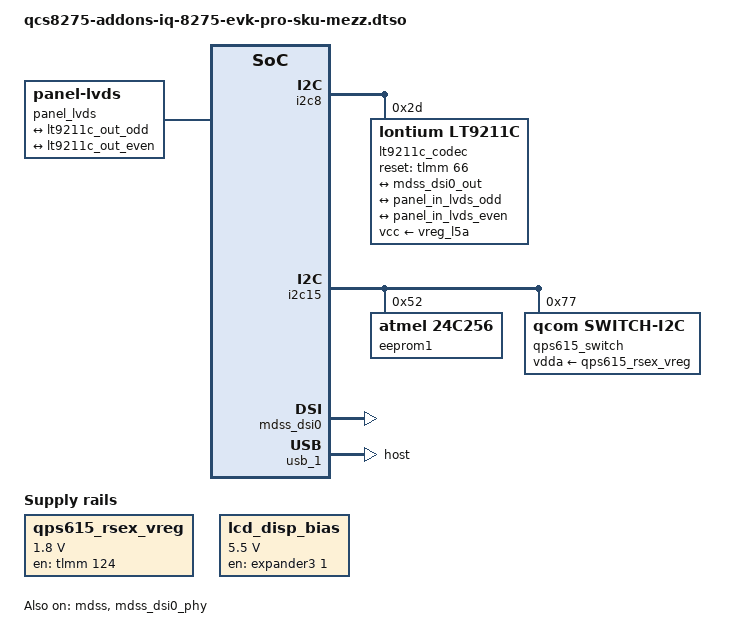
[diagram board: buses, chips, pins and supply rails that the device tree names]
// SPDX-License-Identifier: BSD-3-Clause
/*
 * Copyright (c) Qualcomm Technologies, Inc. and/or its subsidiaries.
 */

/dts-v1/;
/plugin/;

#include <dt-bindings/gpio/gpio.h>
#include <dt-bindings/interrupt-controller/irq.h>

&{/} {
	model = "Qualcomm Technologies, Inc. Addons IQ8-8275-evk pro sku Mezzanine";
	qcom,board-id = <0x00010020 3>, <0x00010019 3>;

	panel_lvds: panel-lvds@0 {
		compatible = "panel-lvds";
		data-mapping = "vesa-24";
		width-mm = <476>;
		height-mm = <268>;

		status = "okay";

		panel-timing {
			clock-frequency = <148500000>;
			hactive = <1920>;
			vactive = <1080>;
			hfront-porch = <88>;
			hback-porch = <148>;
			hsync-len = <44>;
			vfront-porch = <4>;
			vback-porch = <36>;
			vsync-len = <5>;
			de-active = <1>;
		};

		ports {
			#address-cells = <1>;
			#size-cells = <0>;

			port@0 {
				reg = <0>;
				dual-lvds-odd-pixels;
				panel_in_lvds_odd: endpoint {
					remote-endpoint = <&lt9211c_out_odd>;
				};
			};

			port@1 {
				reg = <1>;
				dual-lvds-even-pixels;
				panel_in_lvds_even: endpoint {
					remote-endpoint = <&lt9211c_out_even>;
				};
			};
		};
	};

	qps615_rsex_vreg: qps615-rsex-vreg {
		compatible = "regulator-fixed";
		regulator-name = "qps615_rsex_vreg";
		gpio = <&tlmm 124 GPIO_ACTIVE_HIGH>;
		regulator-min-microvolt = <1800000>;
		regulator-max-microvolt = <1800000>;
		enable-active-high;
		regulator-enable-ramp-delay = <10000>;
	};

	lcd_disp_bias: regulator-lcd-disp-bias {
		compatible = "regulator-fixed";
		regulator-name = "lcd_disp_bias";
		regulator-min-microvolt = <5500000>;
		regulator-max-microvolt = <5500000>;
		gpio = <&expander3 1 GPIO_ACTIVE_HIGH>;
		enable-active-high;
	};
};

&i2c8 {
	qcom,load-firmware;
	qcom,xfer-mode = <1>;
	pinctrl-names = "default";
	pinctrl-0 = <&qup_i2c8_data_clk>;

	status = "okay";

	lt9211c_codec: lvds-bridge@2d {
		compatible = "lontium,lt9211c";
		reg = <0x2d>;
		reset-gpios = <&tlmm 66 GPIO_ACTIVE_HIGH>;
		vcc-supply = <&vreg_l5a>;

		status = "okay";

		ports {
			#address-cells = <1>;
			#size-cells = <0>;

			port@0 {
				reg = <0>;
				lt9211c_in: endpoint {
					data-lanes = <0 1 2 3>;
					remote-endpoint = <&mdss_dsi0_out>;
				};
			};

			port@2 {
				reg = <2>;
				lt9211c_out_odd: endpoint {
					remote-endpoint = <&panel_in_lvds_odd>;
				};
			};

			port@3 {
				reg = <3>;
				lt9211c_out_even: endpoint {
					remote-endpoint = <&panel_in_lvds_even>;
				};
			};
		};
	};
};

&connector_usb1 {
	status = "disabled";
};

&i2c15 {

	status = "okay";

	eeprom1: eeprom@52 {
		compatible = "atmel,24c256";
		reg = <0x52>;
		pagesize = <64>;

		nvmem-layout {
			compatible = "fixed-layout";
			#address-cells = <1>;
			#size-cells = <1>;

			mac_addr1: mac-addr@0 {
				reg = <0x0 0x6>;
			};

			mac_addr2: mac-addr@6 {
				reg = <0x6 0x6>;
			};
		};
	};

	qps615_switch: pcie-switch@77 {
		compatible = "qcom,switch-i2c";
		reg = <0x77>;
		vdda-supply = <&qps615_rsex_vreg>;

		status = "okay";
	};

};

&mdss {
	status = "okay";
};

&mdss_dsi0 {
	vdda-supply = <&vreg_l5a>;
	power-supply = <&lcd_disp_bias>;
	status = "okay";
};

&mdss_dsi0_out {
	data-lanes = <0 1 2 3>;
	remote-endpoint = <&lt9211c_in>;
};

&mdss_dsi0_phy {
	vdds-supply = <&vreg_l4a>;
	status = "okay";
};

&pcie0 {
	dummy-supply = <&qps615_switch>;
	iommu-map = <0x0 &apps_smmu 0x0000 0x1>,
	            <0x100 &pcie_smmu 0x0001 0x1>,
	            <0x208 &pcie_smmu 0x0002 0x1>,
	            <0x210 &pcie_smmu 0x0003 0x1>,
	            <0x218 &pcie_smmu 0x0004 0x1>,
	            <0x300 &pcie_smmu 0x0005 0x1>,
	            <0x400 &pcie_smmu 0x0006 0x1>,
	            <0x500 &pcie_smmu 0x0007 0x1>,
	            <0x501 &pcie_smmu 0x0008 0x1>;

	pcieport0: pcie@0 {
		device_type = "pci";
		reg = <0x0 0x0 0x0 0x0 0x0>;
		#address-cells = <5>;
		#size-cells = <0>;

		wake-gpios = <&tlmm 0 GPIO_ACTIVE_HIGH>;

		/* BDF 1.0.0 */
		pcie0_bus1_dev0_fn0: pcie0_bus1_dev0_fn0 {
			reg = <0 0 0 0 0>;

			/* BDF 2.1.0 */
			pcie0_bus2_dev1_fn0: pcie0_bus2_dev1_fn0 {
				reg = <0x800 0x0 0x0 0x0 0x0>;

				/* BDF 3.0.0 */
				pcie0_bus3_dev0_fn0: pcie0_bus3_dev0_fn0 {
					reg = <0x0 0x0 0x0 0x0 0x0>;
				};
			};

			/* BDF 2.2.0 */
			pcie0_bus2_dev2_fn0: pcie0_bus2_dev2_fn0 {
				reg = <0x1000 0x0 0x0 0x0 0x0>;

				/* BDF 4.0.0 */
				pcie0_bus4_dev0_fn0: pcie0_bus4_dev0_fn0 {
					reg = <0x0 0x0 0x0 0x0 0x0>;
				};
			};

			/* BDF 2.3.0 */
			pcie0_bus2_dev3_fn0: pcie0_bus2_dev3_fn0 {
				reg = <0x1800 0x0 0x0 0x0 0x0>;
				qps615_eth0,qps615_eth0@pcie0_rp {
					reg = <0x0 0x0 0x0 0x0 0x0>;
				};

				/* BDF 5.0.0 */
				pcie0_bus5_dev0_fn0: pcie0_qps_eth0 {
					reg = <0x0 0x0 0x0 0x0 0x0>;
					nvmem-cells = <&mac_addr1>;
					nvmem-cell-names = "mac-address";
					pinctrl-names = "default";
					pinctrl-0 = <&aqr_intn_wol_sig>;
					phy-rst-som-gpios = <&tlmm 10 GPIO_ACTIVE_HIGH>;
					interrupts-extended = <&tlmm 40 IRQ_TYPE_EDGE_FALLING>;
					interrupt-names = "wol_irq";
					qcom,always-on-supply;
					qcom,phy-rst-delay-us = <221000>;
					#address-cells = <1>;
					#size-cells = <1>;

					qcom,iommu-group = <&eth0_pci_iommu_group>;
					eth0_pci_iommu_group: eth0_pci_iommu_group {
						qcom,iommu-dma = "atomic";
					};
				};

				qps615_eth1,qps615_eth1@pcie0_rp {
					reg = <0x100 0x0 0x0 0x0 0x0>;
				};

				/* BDF 5.0.1 */
				pcie0_bus5_dev0_fn1: pcie0_qps_eth1 {
					reg = <0x100 0x0 0x0 0x0 0x0>;
					nvmem-cells = <&mac_addr2>;
					nvmem-cell-names = "mac-address";
					pinctrl-names = "default";
					pinctrl-0 = <&napa_intn_wol_sig>;
					phy-rst-som-gpios = <&expander5 0 GPIO_ACTIVE_HIGH>;
					interrupts-extended = <&tlmm 39 IRQ_TYPE_EDGE_FALLING>;
					interrupt-names = "wol_irq";
					qcom,always-on-supply;
					qcom,phy-rst-delay-us = <20000>;
					#address-cells = <1>;
					#size-cells = <1>;

					qcom,iommu-group = <&eth1_pci_iommu_group>;
					eth1_pci_iommu_group: eth1_pci_iommu_group {
						qcom,iommu-dma = "atomic";
					};
				};
			};
		};
	};
};

&tlmm {
	qps615_intn_wol {
		aqr_intn_wol_sig: aqr-intn-wol-sig {
				pins = "gpio40";
				function = "gpio";
				input-enable;
				bias-disable;
		};

		napa_intn_wol_sig: napa-intn-wol-sig {
				pins = "gpio39";
				function = "gpio";
				input-enable;
				bias-disable;
		};
	};
};

&usb1_id_det_default {
	status = "disabled";
};

&usb_1 {
	dr_mode = "host";
	vbus_dwc3-supply = <&vbus_supply_regulator_1>;

	ports {
		status = "disabled";
	};
};
